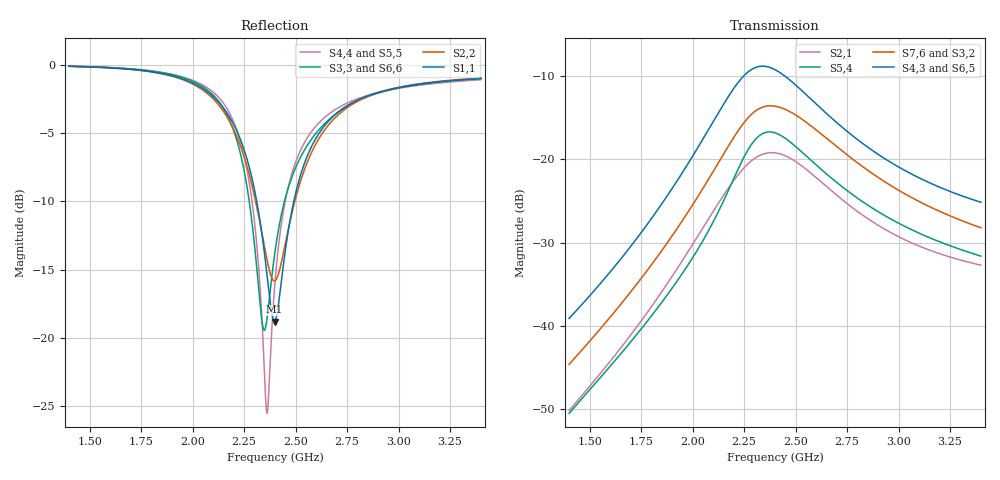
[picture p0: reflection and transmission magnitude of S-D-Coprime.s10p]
! TOUCHSTONE file generated by CST MICROWAVE STUDIO
! Date and time: Wed Jun 19 09:28:37 2024
! Project name: CoprimeDipolo.cst
! Parameters = {Mue=1; Er=4.4}
! Header version: 2018
! Port assignment regex: !\s*Touchstone port\s*([0-9]+)\s*=\s*(CST MWS port|CST DS port)\s*([0-9]+|Zmin|Zmax)\s*\(\"(.*)\"\)(\s*mode\s*([0-9]+))?.*
! Touchstone port assignment:
! Touchstone port 1 = CST MWS port 1 ("")
! Touchstone port 2 = CST MWS port 2 ("")
! Touchstone port 3 = CST MWS port 3 ("")
! Touchstone port 4 = CST MWS port 4 ("")
! Touchstone port 5 = CST MWS port 5 ("")
! Touchstone port 6 = CST MWS port 6 ("")
! Touchstone port 7 = CST MWS port 7 ("")
! Touchstone port 8 = CST MWS port 8 ("")
! Touchstone port 9 = CST MWS port 9 ("")
! Touchstone port 10 = CST MWS port 10 ("")
# GHz S MA R 50
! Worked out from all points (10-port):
!   1001 points, 1.4 GHz to 3.4 GHz, reference 50 ohm
!   strongest paths, dB at 1.4 GHz, 1.9 GHz, 2.4 GHz, 2.9 GHz, 3.4 GHz:
!     S4,3: -39.1, -23.5, -9.2, -19.4, -25.1
!     S6,5: -39.0, -23.5, -9.2, -19.4, -25.1
!     S7,6: -44.6, -29.2, -13.6, -22.1, -28.2
!     S3,2: -44.6, -29.2, -13.6, -22.2, -28.2
!     S5,4: -50.5, -35.5, -16.8, -26.3, -31.6
!     S2,1: -50.1, -34.0, -19.2, -27.9, -32.7
!   lowest |S11| = -18.8 dB at 2.398 GHz (marker M1), VSWR 1.26, Z = 62.8 - j2.14 ohm
!   |S11| at or under -10 dB: 2.311 GHz to 2.491 GHz (180.1 MHz wide, 7.5 % of centre)
